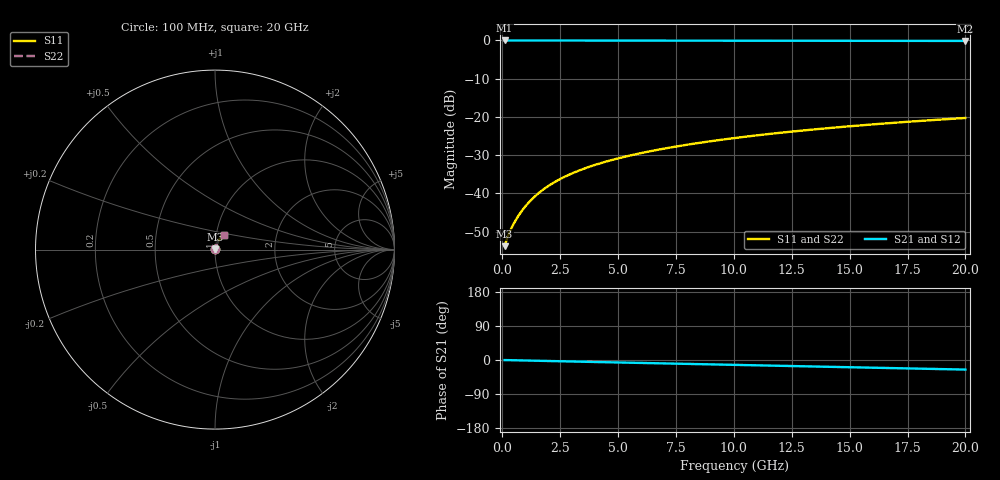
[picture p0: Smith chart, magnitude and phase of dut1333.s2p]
! Touchstone file exported from HFSS 2026.1.0
!  File:  C:/ffzhzh/LocalFiles/Ansys_Project_Files/temp_train_TMRDL_1333_1783165221_43440.aedt
!  Generated:  07:41:32 PM Jul  4, 2026
!  Design:  TMRDL
!  Project:  temp_train_TMRDL_1333_1783165221_43440
! Variables:
!  h_bsmrdl = 2um
!  h_ox = 20um
!  h_rdl = 5um
!  h_sub = 80um
!  h_tmrdl = 5.66um
!  h_tsv = 80um
!  h_via = 3um
!  l_bsmrdl = 300um
!  l_sub = 841.46um
!  l_tmrdl = 441.46um
!  m_sub = 200um
!  pitch = 24.43um
!  r_tsv = 6um
!  s_tmrdl = 10um
!  w_bsmrdl = 18um
!  w_sub = 500um
!  w_tmrdl = 16.27um
!  x_tsv_center1 = 449.595um
!  x_tsv_center2 = 767.595um
!  x_tsv_center3 = 1225.325um
!  x_tsv_center4 = 1543.325um
!  x_tsv_center5 = 2001.055um
!  x_tsv_center6 = 2319.055um
# GHz S MA R 50.000000
! Terminal data exported
! Port[1] = TM_RDL1_1_T1
! Port[2] = TM_RDL1_1_T2
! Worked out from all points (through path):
!   200 points, 100 MHz to 20 GHz, reference 50 ohm
!   highest |S21| = -0.02 dB at 100 MHz (marker M1); lowest = -0.1 dB at 20 GHz (marker M2)
!   group delay of S21, straight-line fit = 3.5 ps
!   lowest |S11| = -53.8 dB at 100 MHz (marker M3), VSWR 1.00, Z = 50.2 + j0.0836 ohm
!   |S11| at or under -10 dB: start of sweep to end of sweep
!   |S22| runs from -53.8 to -20.3 dB; largest |S21 - S12| = 6.2e-15
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0.1  0.002038 24.1  0.9981 -0.1  0.9981 -0.1  0.002038 24.1
! Gamma 0 0 0 0
! Port Impedance 50 0 50 0
0.2  0.002541 36.9  0.998 -0.3  0.998 -0.3  0.002541 36.9
0.3  0.003042 44.4  0.9978 -0.4  0.9978 -0.4  0.003042 44.4
0.4  0.003537 50.1  0.9977 -0.6  0.9977 -0.6  0.003537 50.1
0.6  0.004565 58.0  0.9976 -0.8  0.9976 -0.8  0.004565 58.0
0.9  0.006211 65.1  0.9974 -1.2  0.9974 -1.2  0.006212 65.1
1.1  0.00735 67.8  0.9973 -1.5  0.9973 -1.5  0.00735 67.8
1.3  0.008503 69.7  0.9972 -1.7  0.9972 -1.7  0.008503 69.7
1.7  0.01082 72.0  0.9969 -2.3  0.9969 -2.3  0.01082 72.0
2.2  0.01369 73.2  0.9966 -2.9  0.9966 -2.9  0.01369 73.2
2.8  0.01705 73.6  0.9961 -3.7  0.9961 -3.7  0.01705 73.6
3.5  0.02086 73.5  0.9955 -4.6  0.9955 -4.6  0.02086 73.5
4.2  0.02455 73.1  0.9949 -5.5  0.9949 -5.5  0.02455 73.1
5  0.02865 72.6  0.9942 -6.5  0.9942 -6.5  0.02865 72.6
5.9  0.03314 71.9  0.9935 -7.7  0.9935 -7.7  0.03314 71.9
6.8  0.03755 71.2  0.9928 -8.8  0.9928 -8.8  0.03755 71.2
8.3  0.04474 69.9  0.9917 -10.7  0.9917 -10.7  0.04474 69.9
10.1  0.05319 68.3  0.9904 -13.0  0.9904 -13.0  0.05319 68.3
11.7  0.06056 66.7  0.9894 -15.0  0.9894 -15.0  0.06056 66.7
13.4  0.06825 65.0  0.9883 -17.1  0.9883 -17.1  0.06825 65.0
16.7  0.08277 61.6  0.9861 -21.2  0.9861 -21.2  0.08278 61.6
20  0.09671 58.0  0.9838 -25.3  0.9838 -25.3  0.09671 58.0
